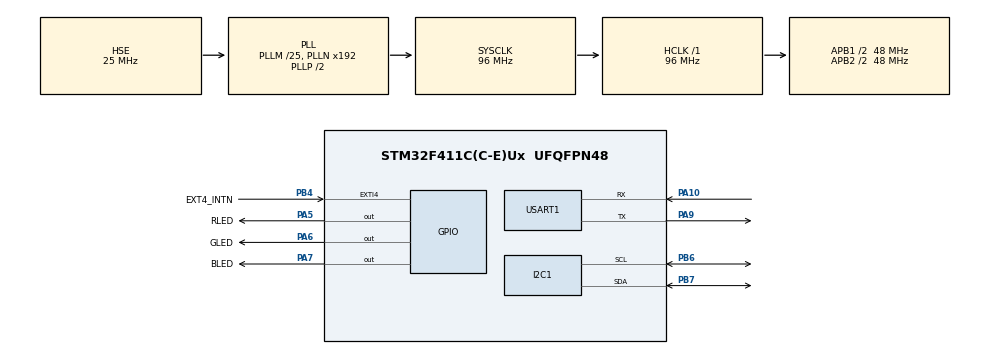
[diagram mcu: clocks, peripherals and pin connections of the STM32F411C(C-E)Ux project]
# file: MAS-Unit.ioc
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Mcu.Family=STM32F4
Mcu.Name=STM32F411C(C-E)Ux
Mcu.Package=UFQFPN48
NVIC.EXTI4_IRQn=true\:0\:0\:false\:false\:true\:true\:true\:true
NVIC.PriorityGroup=NVIC_PRIORITYGROUP_4
NVIC.USART1_IRQn=true\:0\:0\:false\:false\:true\:true\:true\:true
PA10.Mode=Asynchronous
PA10.Signal=USART1_RX
PA13.Mode=Serial_Wire
PA13.Signal=SYS_JTMS-SWDIO
PA14.Mode=Serial_Wire
PA14.Signal=SYS_JTCK-SWCLK
PA5.GPIO_Label=RLED
PA5.Signal=GPIO_Output
PA6.GPIO_Label=GLED
PA6.Signal=GPIO_Output
PA7.GPIO_Label=BLED
PA7.Signal=GPIO_Output
PA9.Mode=Asynchronous
PA9.Signal=USART1_TX
PB4.GPIO_Label=EXT4_INTN
PB4.GPIO_PuPd=GPIO_PULLUP
PB4.Signal=GPXTI4
PB6.Mode=I2C
PB6.Signal=I2C1_SCL
PB7.Mode=I2C
PB7.Signal=I2C1_SDA
PH0\ -\ OSC_IN.Mode=HSE-External-Oscillator
PH0\ -\ OSC_IN.Signal=RCC_OSC_IN
PH1\ -\ OSC_OUT.Mode=HSE-External-Oscillator
PH1\ -\ OSC_OUT.Signal=RCC_OSC_OUT
ProjectManager.HeapSize=0x200
ProjectManager.StackSize=0x400
ProjectManager.TargetToolchain=STM32CubeIDE
RCC.48MHZClocksFreq_Value=48000000
RCC.AHBFreq_Value=96000000
RCC.APB1CLKDivider=RCC_HCLK_DIV2
RCC.APB1Freq_Value=48000000
RCC.APB1TimFreq_Value=96000000
RCC.APB2CLKDivider=RCC_HCLK_DIV2
RCC.APB2Freq_Value=48000000
RCC.APB2TimFreq_Value=96000000
RCC.CortexFreq_Value=96000000
RCC.HCLKFreq_Value=96000000
RCC.HSE_VALUE=25000000
RCC.HSI_VALUE=16000000
RCC.LSE_VALUE=32768
RCC.PLLM=25
RCC.PLLSourceVirtual=RCC_PLLSOURCE_HSE
RCC.SYSCLKFreq_VALUE=96000000
RCC.SYSCLKSource=RCC_SYSCLKSOURCE_PLLCLK
RCC.VCOOutputFreq_Value=192000000
USART1.VirtualMode=VM_ASYNC
board=custom

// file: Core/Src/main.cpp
/* USER CODE BEGIN Header */
/**
  ******************************************************************************
  * @file           : main.c
  * @brief          : Main program body
  ******************************************************************************
  * @attention
  *
  * Copyright (c) 2023 STMicroelectronics.
  * All rights reserved.
  *
  * This software is licensed under terms that can be found in the LICENSE file
  * in the root directory of this software component.
  * If no LICENSE file comes with this software, it is provided AS-IS.
  *
  ******************************************************************************
  */
/* USER CODE END Header */
#include "main.h"

/* USER CODE BEGIN Includes */
#include <cstdarg>
#include <cstdio>
#include "pcap04IIC.h"
#include "pcap04.h"
#include "angle_calculation.h"
/* USER CODE END Includes */

/* USER CODE BEGIN PD */
#define APP_TX_DATA_SIZE  2048
#define READ_TIMES 3
#define WINDOW_LENGTH 50
#define OFFSET 0

#define CALIBRATION 1
/* USER CODE END PD */

I2C_HandleTypeDef hi2c1;

UART_HandleTypeDef huart1;

/* USER CODE BEGIN PV */
uint8_t UserTxBufferFS[APP_TX_DATA_SIZE];

uint16_t i2c_address = 0x28 << 1;
uint8_t readFlag = 0;
float resultArray[3][6][9];
float raw_chA, raw_chB, raw_chC, raw_chD;
float array_chA[WINDOW_LENGTH], array_chB[WINDOW_LENGTH], array_chC[WINDOW_LENGTH], array_chD[WINDOW_LENGTH], array_deltaC[WINDOW_LENGTH], array_ch0[WINDOW_LENGTH];
float data_chA, data_chB, data_chC, data_chD;
float coef1[3] = {-24.7624, 114.3560, 89.5810};
float coef2[3] = {-21.6856,-103.3736, 288.4259};
float coef3[3] = {108.1006, 353.0144, 4.5206};
float coef4[3] = {132.9996, -352.0608, 173.8599};
float edgevalue[2] = {-0.3571,  0.5352};
float bias = 0;
float output_theta = 0;

pcap_config_t my_Config_PCAP;
PCAP04IIC my_pcap(pcap04_version_t::PCAP04_V1, pcap_measurement_modes_t::STANDARD, defaultAddress, my_Config_PCAP);
ENCODER my_encoder(coef1, coef2, coef3, coef4, edgevalue, bias, fit_model::POLY2);
/* USER CODE END PV */

void SystemClock_Config(void);
static void MX_GPIO_Init(void);
static void MX_I2C1_Init(void);
static void MX_USART1_UART_Init(void);
/* USER CODE BEGIN PFP */

void usb_printf(const char *format, ...)
{
  va_list args;
  uint32_t length;

  va_start(args, format);
  length = vsnprintf((char *)UserTxBufferFS, APP_TX_DATA_SIZE, (char *)format, args);
  va_end(args);
  HAL_UART_Transmit(&huart1, UserTxBufferFS, length, 100);
}

float medianAverageFilter(float *array, uint8_t len)
{
  float sum=0;
  float max=array[0], min=array[0];
  uint8_t i;

  for(i=0; i<len; i++)
  {
    if(array[i] < min) min = array[i];
    if(array[i] > max) max = array[i];
    sum += array[i];
  }
  return (sum - min - max)/((float)len-2);
}

void enqueue(float value, float *arr, uint8_t len){
  uint16_t i;
  for(i=len-1; i>0; i--){
    arr[i] = arr[i-1];
  }
  arr[0] = value;
}

/* USER CODE END PFP */

int main(void)
{

  /* MCU Configuration--------------------------------------------------------*/

  /* Reset of all peripherals, Initializes the Flash interface and the Systick. */
  HAL_Init();

  /* Configure the system clock */
  SystemClock_Config();

  /* Initialize all configured peripherals */
  MX_GPIO_Init();
  MX_I2C1_Init();
  MX_USART1_UART_Init();
  /* USER CODE BEGIN 2 */
  HAL_GPIO_WritePin(RLED_GPIO_Port, RLED_Pin, GPIO_PIN_SET);
  HAL_GPIO_WritePin(BLED_GPIO_Port, BLED_Pin, GPIO_PIN_SET);
  pcap04_init(&my_pcap, &my_Config_PCAP, i2c_address);
  HAL_Delay(100);

  /* USER CODE END 2 */

  /* Infinite loop */
  /* USER CODE BEGIN WHILE */
  while (1)
  {
    my_pcap.send_command(CDC_START);
    if(readFlag){
      HAL_NVIC_DisableIRQ(EXTI4_IRQn);
      readFlag = 0;
//      pcap04_updateResults(&my_pcap, 0);
//      printResults();
      raw_chA = getCh1value();
      raw_chB = getCh2value();
      raw_chC = getCh3value();
      raw_chD = getCh4value();
      enqueue(raw_chA, array_chA, WINDOW_LENGTH);
      enqueue(raw_chB, array_chB, WINDOW_LENGTH);
      enqueue(raw_chC, array_chC, WINDOW_LENGTH);
      enqueue(raw_chD, array_chD, WINDOW_LENGTH);

      HAL_NVIC_EnableIRQ(EXTI4_IRQn);
    }

    data_chA = medianAverageFilter(array_chA, WINDOW_LENGTH);
    data_chB = medianAverageFilter(array_chB, WINDOW_LENGTH);
    data_chC = medianAverageFilter(array_chC, WINDOW_LENGTH);
    data_chD = medianAverageFilter(array_chD, WINDOW_LENGTH);
    output_theta = my_encoder.calculate_angle(data_chA, data_chB, data_chC, data_chD);

#if CALIBRATION
//    usb_printf("data:%.5f,%.5f\n", data_chB-data_chC, data_chD-data_chA);
    usb_printf("data:%.5f,%.5f,%.5f,%.5f\n", data_chA, data_chB, data_chC, data_chD);
#else
    usb_printf("data:%.2f\n", output_theta);
#endif

    HAL_GPIO_TogglePin(GLED_GPIO_Port, GLED_Pin);

    HAL_Delay(1);
    /* USER CODE END WHILE */
  }
}

void SystemClock_Config(void)
{
  RCC_OscInitTypeDef RCC_OscInitStruct = {0};
  RCC_ClkInitTypeDef RCC_ClkInitStruct = {0};

  /** Configure the main internal regulator output voltage
  */
  __HAL_RCC_PWR_CLK_ENABLE();
  __HAL_PWR_VOLTAGESCALING_CONFIG(PWR_REGULATOR_VOLTAGE_SCALE1);

  /** Initializes the RCC Oscillators according to the specified parameters
  * in the RCC_OscInitTypeDef structure.
  */
  RCC_OscInitStruct.OscillatorType = RCC_OSCILLATORTYPE_HSE;
  RCC_OscInitStruct.HSEState = RCC_HSE_ON;
  RCC_OscInitStruct.PLL.PLLState = RCC_PLL_ON;
  RCC_OscInitStruct.PLL.PLLSource = RCC_PLLSOURCE_HSE;
  RCC_OscInitStruct.PLL.PLLM = 25;
  RCC_OscInitStruct.PLL.PLLN = 192;
  RCC_OscInitStruct.PLL.PLLP = RCC_PLLP_DIV2;
  RCC_OscInitStruct.PLL.PLLQ = 4;
  if (HAL_RCC_OscConfig(&RCC_OscInitStruct) != HAL_OK)
  {
    Error_Handler();
  }

  /** Initializes the CPU, AHB and APB buses clocks
  */
  RCC_ClkInitStruct.ClockType = RCC_CLOCKTYPE_HCLK|RCC_CLOCKTYPE_SYSCLK
                              |RCC_CLOCKTYPE_PCLK1|RCC_CLOCKTYPE_PCLK2;
  RCC_ClkInitStruct.SYSCLKSource = RCC_SYSCLKSOURCE_PLLCLK;
  RCC_ClkInitStruct.AHBCLKDivider = RCC_SYSCLK_DIV1;
  RCC_ClkInitStruct.APB1CLKDivider = RCC_HCLK_DIV2;
  RCC_ClkInitStruct.APB2CLKDivider = RCC_HCLK_DIV2;

  if (HAL_RCC_ClockConfig(&RCC_ClkInitStruct, FLASH_LATENCY_3) != HAL_OK)
  {
    Error_Handler();
  }
}

static void MX_I2C1_Init(void)
{

  hi2c1.Instance = I2C1;
  hi2c1.Init.ClockSpeed = 100000;
  hi2c1.Init.DutyCycle = I2C_DUTYCYCLE_2;
  hi2c1.Init.OwnAddress1 = 0;
  hi2c1.Init.AddressingMode = I2C_ADDRESSINGMODE_7BIT;
  hi2c1.Init.DualAddressMode = I2C_DUALADDRESS_DISABLE;
  hi2c1.Init.OwnAddress2 = 0;
  hi2c1.Init.GeneralCallMode = I2C_GENERALCALL_DISABLE;
  hi2c1.Init.NoStretchMode = I2C_NOSTRETCH_DISABLE;
  if (HAL_I2C_Init(&hi2c1) != HAL_OK)
  {
    Error_Handler();
  }

}

static void MX_USART1_UART_Init(void)
{

  huart1.Instance = USART1;
  huart1.Init.BaudRate = 115200;
  huart1.Init.WordLength = UART_WORDLENGTH_8B;
  huart1.Init.StopBits = UART_STOPBITS_1;
  huart1.Init.Parity = UART_PARITY_NONE;
  huart1.Init.Mode = UART_MODE_TX_RX;
  huart1.Init.HwFlowCtl = UART_HWCONTROL_NONE;
  huart1.Init.OverSampling = UART_OVERSAMPLING_16;
  if (HAL_UART_Init(&huart1) != HAL_OK)
  {
    Error_Handler();
  }

}

static void MX_GPIO_Init(void)
{
  GPIO_InitTypeDef GPIO_InitStruct = {0};

  /* GPIO Ports Clock Enable */
  __HAL_RCC_GPIOH_CLK_ENABLE();
  __HAL_RCC_GPIOA_CLK_ENABLE();
  __HAL_RCC_GPIOB_CLK_ENABLE();

  /*Configure GPIO pin Output Level */
  HAL_GPIO_WritePin(GPIOA, RLED_Pin|GLED_Pin|BLED_Pin, GPIO_PIN_RESET);

  /*Configure GPIO pins : RLED_Pin GLED_Pin BLED_Pin */
  GPIO_InitStruct.Pin = RLED_Pin|GLED_Pin|BLED_Pin;
  GPIO_InitStruct.Mode = GPIO_MODE_OUTPUT_PP;
  GPIO_InitStruct.Pull = GPIO_NOPULL;
  GPIO_InitStruct.Speed = GPIO_SPEED_FREQ_LOW;
  HAL_GPIO_Init(GPIOA, &GPIO_InitStruct);

  /*Configure GPIO pin : EXT4_INTN_Pin */
  GPIO_InitStruct.Pin = EXT4_INTN_Pin;
  GPIO_InitStruct.Mode = GPIO_MODE_IT_RISING;
  GPIO_InitStruct.Pull = GPIO_PULLUP;
  HAL_GPIO_Init(EXT4_INTN_GPIO_Port, &GPIO_InitStruct);

  /* EXTI interrupt init*/
  HAL_NVIC_SetPriority(EXTI4_IRQn, 0, 0);
  HAL_NVIC_EnableIRQ(EXTI4_IRQn);

}

/* USER CODE BEGIN 4 */
void HAL_GPIO_EXTI_Callback(uint16_t GPIO_Pin){
  if(GPIO_Pin == GPIO_PIN_4){
    readFlag = 1;
  }
}
/* USER CODE END 4 */

void Error_Handler(void)
{
  __disable_irq();
  while (1)
  {
  }
}
